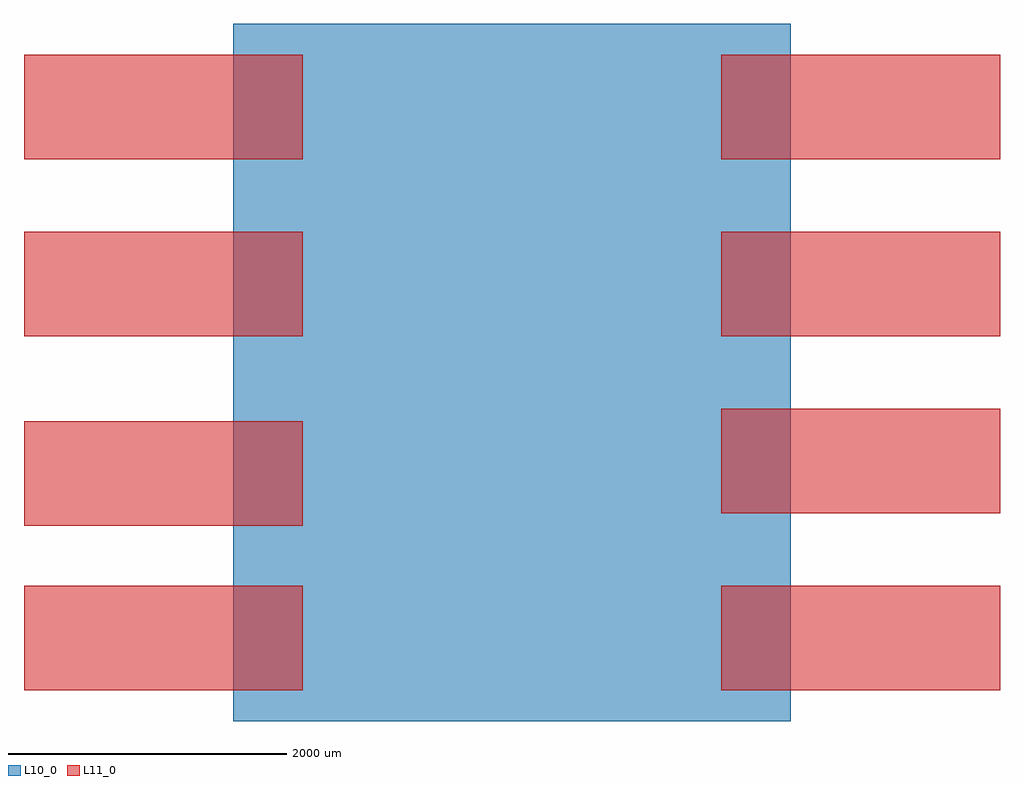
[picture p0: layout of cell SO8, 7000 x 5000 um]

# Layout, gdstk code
import gdstk
lib = gdstk.Library(unit=1e-6, precision=1e-09)
def R(c, l, rs):  # rectangles x0, y0, x1, y1
    for r in rs: c.add(gdstk.rectangle(r[:2], r[2:], *l))
def A(c, l, x, y, w, h, nx, ny, dx, dy):  # array of equal rectangles
    R(c, l, [(x+i*dx, y+j*dy, x+i*dx+w, y+j*dy+h) for i in range(nx) for j in range(ny)])
L10_0 = (10, 0)
L11_0 = (11, 0)

so8 = lib.new_cell('SO8')
R(so8, L10_0, [(-2000,-2500,2000,2500)])
A(so8, L11_0, 1500, -2280, 2000, 750, 1, 4, 0, 1270)
R(so8, L11_0, [(-3500,-2280,-1500,-1530), (-3500,-1100,-1500,-350), (-3500,260,-1500,1010), (-3500,1530,-1500,2280)])
so8.add(gdstk.FlexPath([(-2150,250),(-2150,1050)], 0, ends="round", simple_path=True, layer=11, datatype=0))  # L11_0
so8.add(gdstk.FlexPath([(2250,-1550),(2250,-2250)], 0, ends="round", simple_path=True, layer=11, datatype=0))  # L11_0
so8.add(gdstk.FlexPath([(-2150,-2300),(-2150,-1550)], 0, ends="round", simple_path=True, layer=11, datatype=0))  # L11_0
so8.add(gdstk.FlexPath([(2250,-250),(2250,-1000)], 0, ends="round", simple_path=True, layer=11, datatype=0))  # L11_0
so8.add(gdstk.FlexPath([(-2150,-1150),(-2150,-350)], 0, ends="round", simple_path=True, layer=11, datatype=0))  # L11_0
so8.add(gdstk.FlexPath([(2200,1000),(2200,250)], 0, ends="round", simple_path=True, layer=11, datatype=0))  # L11_0
so8.add(gdstk.FlexPath([(2250,2250),(2250,1500)], 0, ends="round", simple_path=True, layer=11, datatype=0))  # L11_0
so8.add(gdstk.FlexPath([(-2150,1500),(-2150,2300)], 0, ends="round", simple_path=True, layer=11, datatype=0))  # L11_0

lib.write_gds('SO8.gds')
